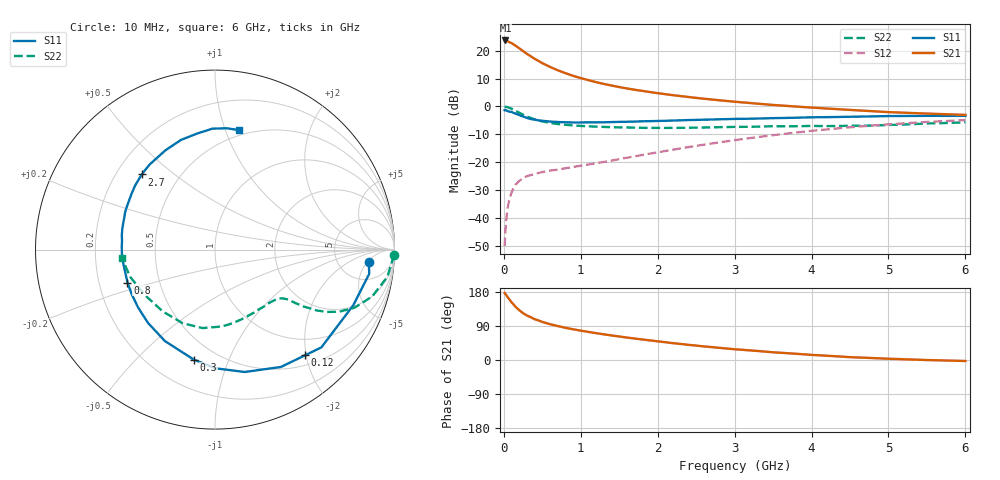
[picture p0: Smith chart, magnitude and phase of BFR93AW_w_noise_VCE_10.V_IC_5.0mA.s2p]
! (c) 2017  Infineon Technologies AG, Munich
! Infineon Technologies  Discrete & RF Semiconductors
! BFR93AW
! VCE =  10. V,  IC =  5.0 mA
! Common Emitter S-Parameters:  Jan 2017
# GHz  S  MA  R  50
!  f  S11  S21  S12  S22
! GHz  MAG  ANG  MAG  ANG  MAG  ANG  MAG  ANG
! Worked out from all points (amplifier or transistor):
!   77 points, 10 MHz to 6 GHz, reference 50 ohm
!   highest |S21| = 23.7 dB at 20 MHz (marker M1)
!   |S21| within 3 dB of that: start of sweep to 209.3 MHz
!   unconditionally stable (mu >= 1): 1.08 GHz to 2.161 GHz
!   at 130 MHz: K = 0.19, MSG = 25.7 dB, |S12| = -29.1 dB
!   at 2.2 GHz: K = 0.99, MSG = 9.8 dB, |S12| = -15.5 dB
!   at 6 GHz: K = 0.88, MSG = 0.9 dB, |S12| = -4.9 dB
!   lowest NFmin = 1.18 dB at 450 MHz
!   S11 on the Smith chart (normalised r, x): 10 MHz: 10, -5; 120 MHz: 0.68, -1.98; 300 MHz: 0.38, -0.75; 800 MHz: 0.32, -0.16; 2.7 GHz: 0.31, +0.39; 6 GHz: 0.45, +1.12
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0.01  0.8592 -4.6  15.21 176.9  0.0031 87.7  0.9992 -1.8
0.02  0.87 -8.9  15.35 174.3  0.0057 89.7  0.989 -3.7
0.05  0.8305 -21.9  14.85 165.6  0.0151 78.8  0.9727 -9.0
0.1  0.805 -42.6  13.8 152.3  0.0287 69.3  0.9139 -16.6
0.12  0.7737 -49.5  13.19 148.0  0.0328 65.3  0.8842 -18.9
0.15  0.7499 -60.7  12.44 140.9  0.0391 60.9  0.8425 -22.6
0.2  0.7016 -76.4  11.1 131.5  0.0458 55.8  0.773 -26.6
0.25  0.6613 -89.8  9.903 123.6  0.0519 51.5  0.7122 -29.2
0.3  0.6241 -100.9  8.815 117.4  0.0559 48.5  0.6602 -30.9
0.4  0.581 -118.7  7.193 107.7  0.0614 45.8  0.5872 -32.7
0.5  0.5533 -132.4  6.001 100.5  0.0664 44.7  0.5395 -33.6
0.6  0.5364 -143.0  5.141 94.5  0.0706 45.4  0.5071 -34.1
0.8  0.5212 -159.3  3.97 85.0  0.0777 49.1  0.4693 -35.5
0.9  0.516 -165.6  3.558 81.1  0.082 50.3  0.4573 -36.4
1.1  0.5191 -176.4  2.967 74.1  0.0909 54.0  0.4406 -39.0
1.5  0.5293 167.4  2.233 62.0  0.1133 60.1  0.4215 -46.0
2.1  0.5535 149.0  1.664 46.9  0.159 65.0  0.4122 -60.6
2.7  0.5837 134.2  1.336 34.1  0.2163 65.0  0.4217 -77.4
3.1  0.6003 125.2  1.186 26.9  0.2594 62.8  0.4307 -88.3
4.1  0.6416 105.5  0.937 12.4  0.3764 53.4  0.4456 -117.0
5.1  0.6742 89.9  0.783 2.7  0.4876 40.5  0.4693 -150.4
6  0.6793 78.6  0.707 -2.6  0.5701 28.4  0.521 -175.1
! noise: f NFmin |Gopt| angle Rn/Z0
0.45  1.18  0.25  77  0.14
0.9  1.5  0.29  137  0.15
1.9  2.75  0.49  -153  0.19
2.4  3.37  0.57  -135  0.38
